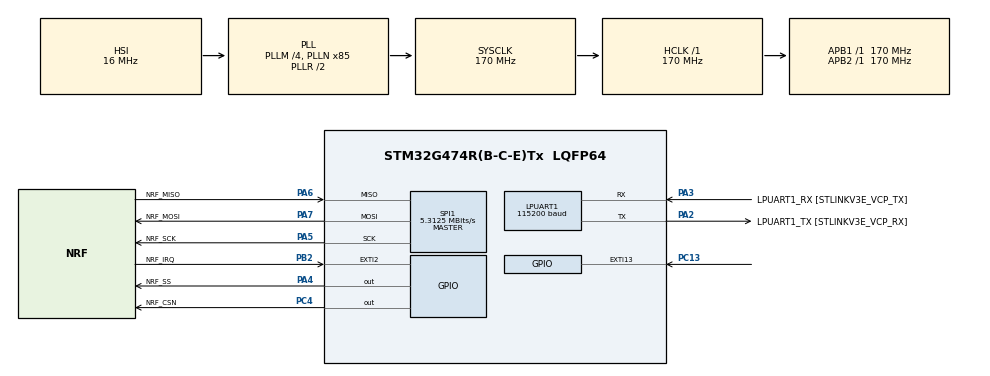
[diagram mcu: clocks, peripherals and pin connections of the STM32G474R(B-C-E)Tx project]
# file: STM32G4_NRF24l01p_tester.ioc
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LPUART1.BaudRate=115200
Mcu.Family=STM32G4
Mcu.Name=STM32G474R(B-C-E)Tx
Mcu.Package=LQFP64
NUCLEO-G474RE.BUTTON=1
NUCLEO-G474RE.LD2=false
NVIC.EXTI15_10_IRQn=true\:0\:0\:false\:false\:true\:false\:true\:true
NVIC.EXTI2_IRQn=true\:1\:0\:true\:false\:true\:true\:true\:true
NVIC.PriorityGroup=NVIC_PRIORITYGROUP_4
PA13.GPIO_Label=T_SWDIO
PA13.Signal=SYS_JTMS-SWDIO
PA14.GPIO_Label=T_SWCLK
PA14.Signal=SYS_JTCK-SWCLK
PA2.GPIO_Label=LPUART1_TX [STLINKV3E_VCP_RX]
PA2.Mode=Asynchronous
PA2.Signal=LPUART1_TX
PA3.GPIO_Label=LPUART1_RX [STLINKV3E_VCP_TX]
PA3.Mode=Asynchronous
PA3.Signal=LPUART1_RX
PA4.GPIO_Label=NRF_SS
PA4.Signal=GPIO_Output
PA5.GPIO_Label=NRF_SCK
PA5.Mode=Full_Duplex_Master
PA5.Signal=SPI1_SCK
PA6.GPIO_Label=NRF_MISO
PA6.Mode=Full_Duplex_Master
PA6.Signal=SPI1_MISO
PA7.GPIO_Label=NRF_MOSI
PA7.Mode=Full_Duplex_Master
PA7.Signal=SPI1_MOSI
PB2.GPIO_Label=NRF_IRQ
PB2.Signal=GPXTI2
PB3.GPIO_Label=T_SWO
PB3.Signal=SYS_JTDO-SWO
PC13.Signal=GPXTI13
PC14-OSC32_IN.GPIO_Label=RCC_OSC32_IN
PC14-OSC32_IN.Signal=RCC_OSC32_IN
PC15-OSC32_OUT.GPIO_Label=RCC_OSC32_OUT
PC15-OSC32_OUT.Signal=RCC_OSC32_OUT
PC4.GPIO_Label=NRF_CSN
PC4.Signal=GPIO_Output
PF0-OSC_IN.GPIO_Label=RCC_OSC_IN
PF0-OSC_IN.Mode=HSE-External-Oscillator
PF0-OSC_IN.Signal=RCC_OSC_IN
PF1-OSC_OUT.GPIO_Label=RCC_OSC_OUT
PF1-OSC_OUT.Mode=HSE-External-Oscillator
PF1-OSC_OUT.Signal=RCC_OSC_OUT
ProjectManager.HeapSize=0x200
ProjectManager.StackSize=0x400
ProjectManager.TargetToolchain=STM32CubeIDE
RCC.ADC12Freq_Value=170000000
RCC.ADC345Freq_Value=170000000
RCC.AHBFreq_Value=170000000
RCC.APB1Freq_Value=170000000
RCC.APB1TimFreq_Value=170000000
RCC.APB2Freq_Value=170000000
RCC.APB2TimFreq_Value=170000000
RCC.CortexFreq_Value=170000000
RCC.EXTERNAL_CLOCK_VALUE=12288000
RCC.HCLKFreq_Value=170000000
RCC.HSE_VALUE=24000000
RCC.HSI48_VALUE=48000000
RCC.HSI_VALUE=16000000
RCC.LSE_VALUE=32768
RCC.PLLM=RCC_PLLM_DIV4
RCC.PLLN=85
RCC.RTCClockSelection=RCC_RTCCLKSOURCE_LSE
RCC.SYSCLKFreq_VALUE=170000000
RCC.SYSCLKSource=RCC_SYSCLKSOURCE_PLLCLK
RCC.USBFreq_Value=170000000
RCC.VCOOutputFreq_Value=340000000
SPI1.BaudRatePrescaler=SPI_BAUDRATEPRESCALER_32
SPI1.CalculateBaudRate=5.3125 MBits/s
SPI1.DataSize=SPI_DATASIZE_8BIT
SPI1.Direction=SPI_DIRECTION_2LINES
SPI1.Mode=SPI_MODE_MASTER
SPI1.VirtualType=VM_MASTER
VP_NUCLEO-G474RE_VS_BSP_COMMON.Mode=COMMON
VP_SYS_VS_DBSignals.Mode=DisableDeadBatterySignals
board=NUCLEO-G474RE

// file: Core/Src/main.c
/* USER CODE BEGIN Header */
/**
  ******************************************************************************
  * @file           : main.c
  * @brief          : Main program body
  ******************************************************************************
  * @attention
  *
  * Copyright (c) 2025 STMicroelectronics.
  * All rights reserved.
  *
  * This software is licensed under terms that can be found in the LICENSE file
  * in the root directory of this software component.
  * If no LICENSE file comes with this software, it is provided AS-IS.
  *
  ******************************************************************************
  */
/* USER CODE END Header */
#include "main.h"

/* USER CODE BEGIN Includes */
#include "stdbool.h"
#include "stdio.h"
#include "math.h"
#include "Drivers/myNRF.h"
#include "Drivers/myNRFRegs.h"
/* USER CODE END Includes */

/* USER CODE BEGIN PM */
#define MIN(X, Y) (((X) < (Y)) ? (X) : (Y))
/* USER CODE END PM */

UART_HandleTypeDef hlpuart1;

SPI_HandleTypeDef hspi1;

/* USER CODE BEGIN PV */
int __io_putchar(int ch){
	HAL_UART_Transmit(&hlpuart1, (uint8_t*)&ch, 1, 0xFFFF);
}

//
// Channel info
//

const uint8_t num_channels = 128;
uint8_t values[128];
const int num_reps = 100;
/* USER CODE END PV */

void SystemClock_Config(void);
static void MX_GPIO_Init(void);
static void MX_SPI1_Init(void);
static void MX_LPUART1_UART_Init(void);

int main(void)
{

  /* MCU Configuration--------------------------------------------------------*/

  /* Reset of all peripherals, Initializes the Flash interface and the Systick. */
  HAL_Init();

  /* Configure the system clock */
  SystemClock_Config();

  /* Initialize all configured peripherals */
  MX_GPIO_Init();
  MX_SPI1_Init();
  MX_LPUART1_UART_Init();
  /* USER CODE BEGIN 2 */
  printf("Scanner On \n\r");
  NRF24_begin(hspi1);
  nrf24_DebugUART_Init(hlpuart1);
  printRadioSettings();
  printStatusReg();
  printConfigReg();
  printFIFOstatus();
  // Print out header, high then low digit
  int i = 0;
  while ( i < num_channels )
  {
    printf("%x", i >> 4);
    ++i;
  }
  printf("\n\r");
  i = 0;
  while ( i < num_channels )
  {
    printf("%x", i & 0xf);
    ++i;
  }
  printf("\n\r");

  /* USER CODE END 2 */

  /* Initialize USER push-button, will be used to trigger an interrupt each time it's pressed.*/
  BSP_PB_Init(BUTTON_USER, BUTTON_MODE_EXTI);

  /* Infinite loop */
  /* USER CODE BEGIN WHILE */
  while (1)
  {
	  // Clear measurement values
	  memset(values, 0, sizeof(values));

	  // Scan all channels num_reps times
	  int rep_counter = num_reps;

	  while (rep_counter--)
	  {
	    int i = num_channels;

	    while (i--)
	    {
	      // Select this channel
	      NRF24_setChannel(i);

	      // Listen for a little
	      NRF24_startListening();
	      HAL_Delay(1);
	      NRF24_stopListening();

	      // Did we get a carrier?
	      if ( NRF24_testCarrier())
	        ++values[i];
	    }
	  }

	  // Print out channel measurements, clamped to a single hex digit
	  int i = 0;
	  while ( i < num_channels )
	  {
	    printf("%x", MIN(0xf, values[i] & 0xf));
	    ++i;
	  }
	  printf("\n\r");

    /* USER CODE END WHILE */

  }
}

void SystemClock_Config(void)
{
  RCC_OscInitTypeDef RCC_OscInitStruct = {0};
  RCC_ClkInitTypeDef RCC_ClkInitStruct = {0};

  /** Configure the main internal regulator output voltage
  */
  HAL_PWREx_ControlVoltageScaling(PWR_REGULATOR_VOLTAGE_SCALE1_BOOST);

  /** Initializes the RCC Oscillators according to the specified parameters
  * in the RCC_OscInitTypeDef structure.
  */
  RCC_OscInitStruct.OscillatorType = RCC_OSCILLATORTYPE_HSI;
  RCC_OscInitStruct.HSIState = RCC_HSI_ON;
  RCC_OscInitStruct.HSICalibrationValue = RCC_HSICALIBRATION_DEFAULT;
  RCC_OscInitStruct.PLL.PLLState = RCC_PLL_ON;
  RCC_OscInitStruct.PLL.PLLSource = RCC_PLLSOURCE_HSI;
  RCC_OscInitStruct.PLL.PLLM = RCC_PLLM_DIV4;
  RCC_OscInitStruct.PLL.PLLN = 85;
  RCC_OscInitStruct.PLL.PLLP = RCC_PLLP_DIV2;
  RCC_OscInitStruct.PLL.PLLQ = RCC_PLLQ_DIV2;
  RCC_OscInitStruct.PLL.PLLR = RCC_PLLR_DIV2;
  if (HAL_RCC_OscConfig(&RCC_OscInitStruct) != HAL_OK)
  {
    Error_Handler();
  }

  /** Initializes the CPU, AHB and APB buses clocks
  */
  RCC_ClkInitStruct.ClockType = RCC_CLOCKTYPE_HCLK|RCC_CLOCKTYPE_SYSCLK
                              |RCC_CLOCKTYPE_PCLK1|RCC_CLOCKTYPE_PCLK2;
  RCC_ClkInitStruct.SYSCLKSource = RCC_SYSCLKSOURCE_PLLCLK;
  RCC_ClkInitStruct.AHBCLKDivider = RCC_SYSCLK_DIV1;
  RCC_ClkInitStruct.APB1CLKDivider = RCC_HCLK_DIV1;
  RCC_ClkInitStruct.APB2CLKDivider = RCC_HCLK_DIV1;

  if (HAL_RCC_ClockConfig(&RCC_ClkInitStruct, FLASH_LATENCY_4) != HAL_OK)
  {
    Error_Handler();
  }
}

static void MX_LPUART1_UART_Init(void)
{

  hlpuart1.Instance = LPUART1;
  hlpuart1.Init.BaudRate = 115200;
  hlpuart1.Init.WordLength = UART_WORDLENGTH_8B;
  hlpuart1.Init.StopBits = UART_STOPBITS_1;
  hlpuart1.Init.Parity = UART_PARITY_NONE;
  hlpuart1.Init.Mode = UART_MODE_TX_RX;
  hlpuart1.Init.HwFlowCtl = UART_HWCONTROL_NONE;
  hlpuart1.Init.OneBitSampling = UART_ONE_BIT_SAMPLE_DISABLE;
  hlpuart1.Init.ClockPrescaler = UART_PRESCALER_DIV1;
  hlpuart1.AdvancedInit.AdvFeatureInit = UART_ADVFEATURE_NO_INIT;
  if (HAL_UART_Init(&hlpuart1) != HAL_OK)
  {
    Error_Handler();
  }
  if (HAL_UARTEx_SetTxFifoThreshold(&hlpuart1, UART_TXFIFO_THRESHOLD_1_8) != HAL_OK)
  {
    Error_Handler();
  }
  if (HAL_UARTEx_SetRxFifoThreshold(&hlpuart1, UART_RXFIFO_THRESHOLD_1_8) != HAL_OK)
  {
    Error_Handler();
  }
  if (HAL_UARTEx_DisableFifoMode(&hlpuart1) != HAL_OK)
  {
    Error_Handler();
  }

}

static void MX_SPI1_Init(void)
{

  /* SPI1 parameter configuration*/
  hspi1.Instance = SPI1;
  hspi1.Init.Mode = SPI_MODE_MASTER;
  hspi1.Init.Direction = SPI_DIRECTION_2LINES;
  hspi1.Init.DataSize = SPI_DATASIZE_8BIT;
  hspi1.Init.CLKPolarity = SPI_POLARITY_LOW;
  hspi1.Init.CLKPhase = SPI_PHASE_1EDGE;
  hspi1.Init.NSS = SPI_NSS_SOFT;
  hspi1.Init.BaudRatePrescaler = SPI_BAUDRATEPRESCALER_32;
  hspi1.Init.FirstBit = SPI_FIRSTBIT_MSB;
  hspi1.Init.TIMode = SPI_TIMODE_DISABLE;
  hspi1.Init.CRCCalculation = SPI_CRCCALCULATION_DISABLE;
  hspi1.Init.CRCPolynomial = 7;
  hspi1.Init.CRCLength = SPI_CRC_LENGTH_DATASIZE;
  hspi1.Init.NSSPMode = SPI_NSS_PULSE_ENABLE;
  if (HAL_SPI_Init(&hspi1) != HAL_OK)
  {
    Error_Handler();
  }

}

static void MX_GPIO_Init(void)
{
  GPIO_InitTypeDef GPIO_InitStruct = {0};

  /* GPIO Ports Clock Enable */
  __HAL_RCC_GPIOC_CLK_ENABLE();
  __HAL_RCC_GPIOF_CLK_ENABLE();
  __HAL_RCC_GPIOA_CLK_ENABLE();
  __HAL_RCC_GPIOB_CLK_ENABLE();

  /*Configure GPIO pin Output Level */
  HAL_GPIO_WritePin(NRF_SS_GPIO_Port, NRF_SS_Pin, GPIO_PIN_RESET);

  /*Configure GPIO pin Output Level */
  HAL_GPIO_WritePin(NRF_CSN_GPIO_Port, NRF_CSN_Pin, GPIO_PIN_RESET);

  /*Configure GPIO pin : NRF_SS_Pin */
  GPIO_InitStruct.Pin = NRF_SS_Pin;
  GPIO_InitStruct.Mode = GPIO_MODE_OUTPUT_PP;
  GPIO_InitStruct.Pull = GPIO_NOPULL;
  GPIO_InitStruct.Speed = GPIO_SPEED_FREQ_LOW;
  HAL_GPIO_Init(NRF_SS_GPIO_Port, &GPIO_InitStruct);

  /*Configure GPIO pin : NRF_CSN_Pin */
  GPIO_InitStruct.Pin = NRF_CSN_Pin;
  GPIO_InitStruct.Mode = GPIO_MODE_OUTPUT_PP;
  GPIO_InitStruct.Pull = GPIO_NOPULL;
  GPIO_InitStruct.Speed = GPIO_SPEED_FREQ_LOW;
  HAL_GPIO_Init(NRF_CSN_GPIO_Port, &GPIO_InitStruct);

  /*Configure GPIO pin : NRF_IRQ_Pin */
  GPIO_InitStruct.Pin = NRF_IRQ_Pin;
  GPIO_InitStruct.Mode = GPIO_MODE_IT_RISING;
  GPIO_InitStruct.Pull = GPIO_NOPULL;
  HAL_GPIO_Init(NRF_IRQ_GPIO_Port, &GPIO_InitStruct);

  /* EXTI interrupt init*/
  HAL_NVIC_SetPriority(EXTI2_IRQn, 1, 0);
  HAL_NVIC_EnableIRQ(EXTI2_IRQn);

}

void Error_Handler(void)
{
  __disable_irq();
  while (1)
  {
  }
}
